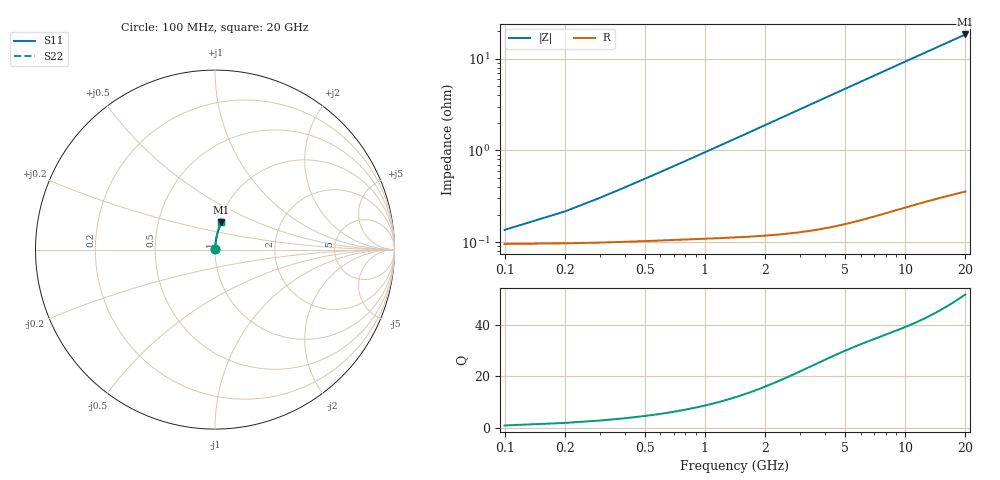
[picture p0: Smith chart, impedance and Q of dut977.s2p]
! Touchstone file exported from HFSS 2026.1.0
!  File:  C:/ffzhzh/LocalFiles/Ansys_Project_Files/temp_train_BSMRDL_977_1783172713_22436.aedt
!  Generated:  09:46:27 PM Jul  4, 2026
!  Design:  BSMRDL
!  Project:  temp_train_BSMRDL_977_1783172713_22436
! Variables:
!  h_bsmrdl = 3.94um
!  h_ox = 20um
!  h_rdl = 5um
!  h_sub = 80um
!  h_tmrdl = 5um
!  h_tsv = 80um
!  h_via = 3um
!  l_bsmrdl = 107.76um
!  l_sub = 507.76um
!  l_tmrdl = 200um
!  m_sub = 200um
!  pitch = 49.4um
!  r_tsv = 6um
!  s_tmrdl = 10um
!  w_bsmrdl = 12.02um
!  w_sub = 500um
!  w_tmrdl = 12um
!  x_tsv_center1 = 206um
!  x_tsv_center2 = 325.78um
!  x_tsv_center3 = 537.78um
!  x_tsv_center4 = 657.56um
!  x_tsv_center5 = 869.56um
!  x_tsv_center6 = 989.34um
# GHz S MA R 50.000000
! Terminal data exported
! Port[1] = BSM_RDL1_1_T1
! Port[2] = BSM_RDL1_1_T2
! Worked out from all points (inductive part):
!   200 points, 100 MHz to 20 GHz, reference 50 ohm
!   read as one part in series: L = 152 pH near 400 MHz
!   highest Q = 51.6 at 20 GHz (marker M1), where L = 146 pH
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0.1  0.00127 41.1  0.999 -0.1  0.999 -0.1  0.00127 41.1
! Gamma 0 0 0 0
! Port Impedance 50 0 50 0
0.2  0.001929 59.7  0.999 -0.1  0.999 -0.1  0.001929 59.7
0.3  0.00268 68.2  0.999 -0.2  0.999 -0.2  0.00268 68.2
0.4  0.003458 72.8  0.999 -0.2  0.999 -0.2  0.003458 72.8
0.5  0.004246 75.7  0.999 -0.3  0.999 -0.3  0.004246 75.7
0.6  0.005038 77.7  0.9989 -0.4  0.9989 -0.4  0.005038 77.7
0.8  0.006629 80.3  0.9989 -0.5  0.9989 -0.5  0.006629 80.3
1.1  0.009026 82.3  0.9989 -0.7  0.9989 -0.7  0.009026 82.3
1.5  0.01223 83.8  0.9988 -0.9  0.9988 -0.9  0.01223 83.8
1.8  0.01464 84.4  0.9987 -1.1  0.9987 -1.1  0.01464 84.4
2.1  0.01705 84.7  0.9987 -1.3  0.9987 -1.3  0.01705 84.7
2.7  0.02187 85.1  0.9985 -1.7  0.9985 -1.7  0.02187 85.1
3.5  0.02829 85.1  0.9983 -2.1  0.9983 -2.1  0.02829 85.1
4.2  0.03388 85.0  0.998 -2.6  0.998 -2.6  0.03388 85.0
5  0.04026 84.7  0.9976 -3.1  0.9976 -3.1  0.04026 84.7
5.9  0.04739 84.3  0.9972 -3.6  0.9972 -3.6  0.04739 84.3
6.8  0.05449 83.9  0.9967 -4.1  0.9967 -4.1  0.05449 83.9
8.3  0.06626 83.1  0.9957 -5.0  0.9957 -5.0  0.06626 83.1
10.1  0.08026 82.2  0.9944 -6.1  0.9944 -6.1  0.08026 82.2
13.4  0.1056 80.4  0.9916 -8.1  0.9916 -8.1  0.1056 80.4
16.7  0.1307 78.6  0.9882 -10.0  0.9882 -10.0  0.1307 78.6
20  0.1553 76.8  0.9844 -11.9  0.9844 -11.9  0.1553 76.8
